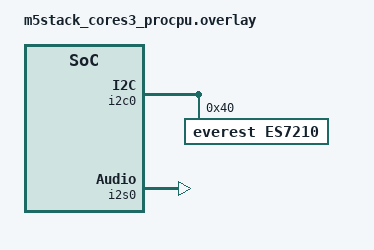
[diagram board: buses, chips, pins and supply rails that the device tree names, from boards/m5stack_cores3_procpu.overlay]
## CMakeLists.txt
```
# SPDX-License-Identifier: Apache-2.0

cmake_minimum_required(VERSION 3.20.0)
find_package(Zephyr REQUIRED HINTS $ENV{ZEPHYR_BASE})
project(es7210_custom_sample)

target_sources(app PRIVATE src/main.c)
```

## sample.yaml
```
sample:
  name: es7210 custom codec sample
  description: Basic register-level ES7210 custom API example.

tests:
  sample.drivers.audio.es7210_custom:
    tags:
      - audio
      - codec
      - i2c
    filter: dt_compat_enabled("everest,es7210")
    integration_platforms:
      - m5stack_cores3_procpu
    harness: console
    harness_config:
      type: one_line
      regex:
        - "ES7210 configured"
```

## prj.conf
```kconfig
CONFIG_AUDIO=y
CONFIG_AUDIO_CODEC=y
CONFIG_AUDIO_CODEC_ES7210=y
CONFIG_I2S=y
CONFIG_LOG=y
```

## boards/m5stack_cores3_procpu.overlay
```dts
/*
 * Copyright (c) 2026 Zhang Xingtao
 *
 * SPDX-License-Identifier: Apache-2.0
 */

/ {
	aliases {
		es7210 = &es7210;
	};
};

&pinctrl {
	i2s0_default: i2s0_default {
		group1 {
			pinmux = <I2S0_O_BCK_GPIO34>,
				 <I2S0_O_WS_GPIO33>,
				 <I2S0_O_SD_GPIO13>,
				 <I2S0_I_SD_GPIO14>,
				 <I2S0_MCLK_GPIO0>;
		};
	};
};

&i2c0 {
	status = "okay";

	es7210: audio-codec@40 {
		compatible = "everest,es7210";
		reg = <0x40>;
		status = "okay";
	};
};

&i2s0 {
	status = "okay";
	pinctrl-0 = <&i2s0_default>;
	pinctrl-names = "default";
};

&i2s1 {
	status = "disabled";
};

&dma {
	status = "okay";
};
```

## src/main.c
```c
/*
 * Copyright (c) 2026 Zhang Xingtao
 *
 * SPDX-License-Identifier: Apache-2.0
 */

#include <zephyr/device.h>
#include <zephyr/devicetree.h>
#include <zephyr/drivers/es7210.h>
#include <zephyr/drivers/i2c.h>
#include <zephyr/drivers/i2s.h>
#include <zephyr/kernel.h>
#include <zephyr/logging/log.h>
#include <zephyr/sys/util.h>
#include <errno.h>
#include <string.h>

LOG_MODULE_REGISTER(es7210_sample, LOG_LEVEL_INF);

#define ES7210_NODE DT_COMPAT_GET_ANY_STATUS_OKAY(everest_es7210)

#if !DT_NODE_EXISTS(ES7210_NODE)
#error "No everest,es7210 instance found in devicetree"
#endif

#define PMIC_I2C_NODE DT_NODELABEL(i2c0)
#define I2S_NODE DT_NODELABEL(i2s0)
#define AXP2101_ADDR  0x34
#define AW9523_ADDR   0x58
#define ES7210_REG_SDP_INTERFACE1 0x11
#define ES7210_REG_RESET_CONTROL 0x00
#define ES7210_REG_CLOCK_OFF 0x01
#define ES7210_REG_POWER_DOWN 0x06
#define ES7210_REG_MODE_CONFIG 0x08
#define ES7210_REG_ANALOG_POWER 0x40
#define ES7210_REG_MIC1_GAIN 0x43
#define ES7210_REG_MIC2_GAIN 0x44
#define ES7210_REG_MIC3_GAIN 0x45
#define ES7210_REG_MIC4_GAIN 0x46
#define ES7210_REG_MIC1_POWER 0x47
#define ES7210_REG_MIC2_POWER 0x48
#define ES7210_REG_MIC3_POWER 0x49
#define ES7210_REG_MIC4_POWER 0x4A
#define ES7210_REG_MIC12_POWER 0x4B
#define ES7210_REG_MIC34_POWER 0x4C
#define ES7210_REG_ADC1_DIRECT_DB 0x1B
#define CAPTURE_BLOCK_SIZE 1024
#define CAPTURE_BLOCK_COUNT 8
#define CAPTURE_SECONDS 2
#define CAPTURE_WORD_SIZE 32

K_MEM_SLAB_DEFINE_STATIC(capture_slab, CAPTURE_BLOCK_SIZE, CAPTURE_BLOCK_COUNT, 4);

static uint32_t isqrt_u64(uint64_t val)
{
	uint64_t res = 0;
	uint64_t bit = 1ULL << 62;

	while (bit > val) {
		bit >>= 2;
	}

	while (bit != 0U) {
		if (val >= (res + bit)) {
			val -= (res + bit);
			res = (res >> 1) + bit;
		} else {
			res >>= 1;
		}
		bit >>= 2;
	}

	return (uint32_t)res;
}

static void analyze_pcm_block(const void *blk, size_t size, uint8_t word_size, int32_t *peak,
			      uint32_t *rms)
{
	uint64_t sum_sq = 0;
	int32_t p = 0;
	size_t n;

	if (word_size == 32U) {
		const int32_t *s = blk;

		n = size / sizeof(int32_t);
		for (size_t i = 0; i < n; i++) {
			/* ES7210 data is typically aligned in upper bits on 32-bit slots. */
			int32_t v = s[i] >> 8;
			int32_t a = (v < 0) ? -v : v;

			if (a > p) {
				p = a;
			}

			sum_sq += (uint64_t)((int64_t)v * (int64_t)v);
		}
	} else {
		const int16_t *s = blk;

		n = size / sizeof(int16_t);
		for (size_t i = 0; i < n; i++) {
			int32_t v = s[i];
			int32_t a = (v < 0) ? -v : v;

			if (a > p) {
				p = a;
			}

			sum_sq += (uint64_t)((int64_t)v * (int64_t)v);
		}
	}

	*peak = p;
	*rms = (n > 0U) ? isqrt_u64(sum_sq / n) : 0U;
}

static int run_i2s_capture_test(const struct device *i2s_dev)
{
	const uint32_t sample_rate = 48000U;
	const uint8_t channels = 2U;
	const uint8_t word_size = CAPTURE_WORD_SIZE;
	const uint32_t bytes_per_frame = channels * (word_size / 8U);
	const uint32_t total_bytes = sample_rate * CAPTURE_SECONDS * bytes_per_frame;
	const uint32_t total_blocks = DIV_ROUND_UP(total_bytes, CAPTURE_BLOCK_SIZE);
	struct i2s_config cfg = {
		.word_size = word_size,
		.channels = channels,
		.format = I2S_FMT_DATA_FORMAT_I2S,
		.options = I2S_OPT_BIT_CLK_MASTER | I2S_OPT_FRAME_CLK_MASTER,
		.frame_clk_freq = sample_rate,
		.mem_slab = &capture_slab,
		.block_size = CAPTURE_BLOCK_SIZE,
		.timeout = 40,
	};
	int ret;

	ret = i2s_trigger(i2s_dev, I2S_DIR_BOTH, I2S_TRIGGER_DROP);
	(void)ret;

	ret = i2s_configure(i2s_dev, I2S_DIR_BOTH, &cfg);
	if (ret != 0) {
		LOG_ERR("i2s configure BOTH failed: %d", ret);
		return ret;
	}

	/* Prefill TX with silence so master clocks are continuously driven. */
	for (int i = 0; i < 4; i++) {
		void *tx_blk;

		ret = k_mem_slab_alloc(&capture_slab, &tx_blk, K_MSEC(100));
		if (ret != 0) {
			LOG_ERR("i2s tx prefill alloc failed: %d", ret);
			return ret;
		}
		memset(tx_blk, 0, CAPTURE_BLOCK_SIZE);
		ret = i2s_write(i2s_dev, tx_blk, CAPTURE_BLOCK_SIZE);
		if (ret != 0) {
			LOG_ERR("i2s tx prefill write failed: %d", ret);
			k_mem_slab_free(&capture_slab, tx_blk);
			return ret;
		}
	}

	ret = i2s_trigger(i2s_dev, I2S_DIR_BOTH, I2S_TRIGGER_START);
	if (ret != 0) {
		LOG_ERR("i2s start BOTH failed: %d", ret);
		return ret;
	}

	LOG_INF("i2s capture started: %u Hz, %u sec, %u blocks", sample_rate, CAPTURE_SECONDS,
		total_blocks);

	for (uint32_t i = 0; i < total_blocks; i++) {
		void *blk;
		size_t rx_size;
		int32_t peak;
		uint32_t rms;
		void *tx_blk;

		/* Keep TX fed so master BCLK/LRCK are continuously generated. */
		ret = k_mem_slab_alloc(&capture_slab, &tx_blk, K_NO_WAIT);
		if (ret == 0) {
			memset(tx_blk, 0, CAPTURE_BLOCK_SIZE);
			ret = i2s_write(i2s_dev, tx_blk, CAPTURE_BLOCK_SIZE);
			if (ret != 0) {
				if (ret != -EAGAIN && ret != -EBUSY) {
					LOG_ERR("i2s tx keepalive write failed: %d", ret);
					k_mem_slab_free(&capture_slab, tx_blk);
					(void)i2s_trigger(i2s_dev, I2S_DIR_BOTH, I2S_TRIGGER_DROP);
					return ret;
				}
				k_mem_slab_free(&capture_slab, tx_blk);
			}
		}

		ret = i2s_read(i2s_dev, &blk, &rx_size);
		if (ret != 0) {
			LOG_ERR("i2s read failed at block %u: %d", i, ret);
			(void)i2s_trigger(i2s_dev, I2S_DIR_BOTH, I2S_TRIGGER_DROP);
			return ret;
		}

		analyze_pcm_block(blk, rx_size, word_size, &peak, &rms);
		LOG_INF("i2s block %u/%u: bytes=%u peak=%d rms=%u", i + 1, total_blocks, rx_size, peak,
			rms);

		k_mem_slab_free(&capture_slab, blk);
	}

	(void)i2s_trigger(i2s_dev, I2S_DIR_BOTH, I2S_TRIGGER_DROP);
	LOG_INF("i2s capture finished");

	return 0;
}

static int es7210_start_capture_path(const struct device *dev)
{
	/* Align with validated app flow in applications/zephyr_box/src/es7210.c */
	int ret = 0;

	ret |= es7210_write_reg(dev, ES7210_REG_CLOCK_OFF, 0x00);
	ret |= es7210_write_reg(dev, ES7210_REG_POWER_DOWN, 0x00);
	ret |= es7210_write_reg(dev, ES7210_REG_MODE_CONFIG, 0x00);
	ret |= es7210_write_reg(dev, ES7210_REG_ANALOG_POWER, 0x43);
	ret |= es7210_write_reg(dev, ES7210_REG_MIC12_POWER, 0x00);
	ret |= es7210_write_reg(dev, ES7210_REG_MIC34_POWER, 0x00);
	/* Unmute ADC channels and apply moderate analog gain (bit4 enable + gain=0x0A). */
	ret |= es7210_write_reg(dev, ES7210_REG_MIC1_GAIN, 0x1A);
	ret |= es7210_write_reg(dev, ES7210_REG_MIC2_GAIN, 0x1A);
	ret |= es7210_write_reg(dev, ES7210_REG_MIC3_GAIN, 0x1A);
	ret |= es7210_write_reg(dev, ES7210_REG_MIC4_GAIN, 0x1A);
	ret |= es7210_write_reg(dev, ES7210_REG_MIC1_POWER, 0x08);
	ret |= es7210_write_reg(dev, ES7210_REG_MIC2_POWER, 0x08);
	ret |= es7210_write_reg(dev, ES7210_REG_MIC3_POWER, 0x08);
	ret |= es7210_write_reg(dev, ES7210_REG_MIC4_POWER, 0x08);
	ret |= es7210_write_reg(dev, ES7210_REG_RESET_CONTROL, 0x71);
	ret |= es7210_write_reg(dev, ES7210_REG_RESET_CONTROL, 0x41);

	if (ret != 0) {
		LOG_ERR("es7210 start path failed: %d", ret);
		return -EIO;
	}

	return 0;
}

static void es7210_dump_key_regs(const struct device *dev)
{
	static const uint8_t regs[] = {
		0x00, 0x01, 0x06, 0x08, 0x11, 0x12, 0x40, 0x41, 0x42,
		0x43, 0x44, 0x45, 0x46, 0x47, 0x48, 0x49, 0x4A, 0x4B, 0x4C,
	};

	for (size_t i = 0; i < ARRAY_SIZE(regs); i++) {
		uint8_t val;
		int ret = es7210_read_reg(dev, regs[i], &val);

		if (ret == 0) {
			LOG_INF("es7210 reg[0x%02x]=0x%02x", regs[i], val);
		} else {
			LOG_ERR("es7210 reg[0x%02x] read failed: %d", regs[i], ret);
		}
	}
}

static int test_reg_loopback(const struct device *dev)
{
	uint8_t orig;
	uint8_t test;
	int ret;

	ret = es7210_read_reg(dev, ES7210_REG_SDP_INTERFACE1, &orig);
	if (ret != 0) {
		LOG_ERR("loopback: read original reg 0x%02x failed: %d", ES7210_REG_SDP_INTERFACE1, ret);
		return ret;
	}

	test = (orig ^ 0x20) & 0xE0;
	if (test == orig) {
		test ^= 0x40;
	}

	ret = es7210_write_reg(dev, ES7210_REG_SDP_INTERFACE1, test);
	if (ret != 0) {
		LOG_ERR("loopback: write test value failed: %d", ret);
		return ret;
	}

	ret = es7210_read_reg(dev, ES7210_REG_SDP_INTERFACE1, &test);
	if (ret != 0) {
		LOG_ERR("loopback: readback failed: %d", ret);
		return ret;
	}

	ret = es7210_write_reg(dev, ES7210_REG_SDP_INTERFACE1, orig);
	if (ret != 0) {
		LOG_ERR("loopback: restore original value failed: %d", ret);
		return ret;
	}

	LOG_INF("loopback: reg 0x%02x read/write/read ok (orig=0x%02x readback=0x%02x)",
		ES7210_REG_SDP_INTERFACE1, orig, test);

	return 0;
}

static int test_channel_gain(const struct device *dev)
{
	static const uint8_t masks[] = {
		ES7210_CHANNEL_1, ES7210_CHANNEL_2, ES7210_CHANNEL_3, ES7210_CHANNEL_4,
	};
	static const uint8_t gain_regs[] = {
		ES7210_REG_ADC1_DIRECT_DB, ES7210_REG_ADC1_DIRECT_DB + 1, ES7210_REG_ADC1_DIRECT_DB + 2,
		ES7210_REG_ADC1_DIRECT_DB + 3,
	};
	static const uint8_t test_vals[] = {0x00, 0x0A, 0x1E, 0x08};
	int ret;

	for (size_t i = 0; i < ARRAY_SIZE(masks); i++) {
		uint8_t rd = 0;

		ret = es7210_set_mic_gain(dev, masks[i], test_vals[i]);
		if (ret != 0) {
			LOG_ERR("gain: set CH%u failed: %d", (unsigned int)(i + 1), ret);
			return ret;
		}

		ret = es7210_read_reg(dev, gain_regs[i], &rd);
		if (ret != 0) {
			LOG_ERR("gain: read CH%u reg 0x%02x failed: %d", (unsigned int)(i + 1),
				gain_regs[i], ret);
			return ret;
		}

		if (rd != test_vals[i]) {
			LOG_ERR("gain: CH%u mismatch wrote=0x%02x read=0x%02x", (unsigned int)(i + 1),
				test_vals[i], rd);
			return -EIO;
		}

		LOG_INF("gain: CH%u ok reg=0x%02x val=0x%02x", (unsigned int)(i + 1), gain_regs[i], rd);
	}

	return 0;
}

static int prepare_audio_power(const struct device *i2c_dev)
{
	uint8_t buf[2];
	uint8_t p1_val;
	uint8_t p0_val;
	int ret;

	/* AXP2101: enable codec/mic rails */
	buf[0] = 0x92;
	buf[1] = 0x0D;
	ret = i2c_write(i2c_dev, buf, sizeof(buf), AXP2101_ADDR);
	if (ret != 0) {
		return ret;
	}

	buf[0] = 0x93;
	buf[1] = 0x1C;
	ret = i2c_write(i2c_dev, buf, sizeof(buf), AXP2101_ADDR);
	if (ret != 0) {
		return ret;
	}

	buf[0] = 0x94;
	buf[1] = 0x1C;
	ret = i2c_write(i2c_dev, buf, sizeof(buf), AXP2101_ADDR);
	if (ret != 0) {
		return ret;
	}

	/* AW9523: enable 5V/audio related lines while preserving LCD reset */
	buf[0] = 0x03;
	ret = i2c_write_read(i2c_dev, AW9523_ADDR, buf, 1, &p1_val, 1);
	if (ret != 0) {
		return ret;
	}
	buf[0] = 0x03;
	buf[1] = p1_val | BIT(7) | BIT(1);
	ret = i2c_write(i2c_dev, buf, sizeof(buf), AW9523_ADDR);
	if (ret != 0) {
		return ret;
	}

	buf[0] = 0x02;
	ret = i2c_write_read(i2c_dev, AW9523_ADDR, buf, 1, &p0_val, 1);
	if (ret != 0) {
		return ret;
	}
	buf[0] = 0x02;
	buf[1] = p0_val | 0x07;
	ret = i2c_write(i2c_dev, buf, sizeof(buf), AW9523_ADDR);
	if (ret != 0) {
		return ret;
	}

	k_msleep(50);

	return 0;
}

int main(void)
{
	const struct device *dev = DEVICE_DT_GET(ES7210_NODE);
	const struct device *pmic_i2c = DEVICE_DT_GET(PMIC_I2C_NODE);
	const struct device *i2s_dev = DEVICE_DT_GET(I2S_NODE);
	uint8_t id1;
	int ret;

	if (!device_is_ready(dev)) {
		LOG_ERR("ES7210 device not ready");
		return -ENODEV;
	}

	if (!device_is_ready(pmic_i2c)) {
		LOG_ERR("Power I2C bus not ready");
		return -ENODEV;
	}

	if (!device_is_ready(i2s_dev)) {
		LOG_ERR("I2S device not ready");
		return -ENODEV;
	}

	ret = prepare_audio_power(pmic_i2c);
	if (ret != 0) {
		LOG_ERR("failed to enable audio power rails: %d", ret);
		return ret;
	}

	ret = es7210_apply_init(dev);
	if (ret != 0) {
		LOG_ERR("failed to apply init sequence: %d", ret);
		return ret;
	}

	ret = es7210_read_reg(dev, 0x3D, &id1);
	if (ret != 0) {
		LOG_ERR("failed to read CHIP_ID1: %d", ret);
		return ret;
	}

	LOG_INF("ES7210 CHIP_ID1 = 0x%02x", id1);

	ret = es7210_set_mic_gain(dev, ES7210_CHANNEL_ALL, 0x1E);
	if (ret != 0) {
		LOG_ERR("failed to set gain: %d", ret);
		return ret;
	}

	ret = test_reg_loopback(dev);
	if (ret != 0) {
		LOG_ERR("register loopback test failed: %d", ret);
		return ret;
	}

	ret = test_channel_gain(dev);
	if (ret != 0) {
		LOG_ERR("channel gain test failed: %d", ret);
		return ret;
	}

	ret = es7210_start_capture_path(dev);
	if (ret != 0) {
		return ret;
	}
	es7210_dump_key_regs(dev);

	ret = run_i2s_capture_test(i2s_dev);
	if (ret != 0) {
		LOG_ERR("i2s capture test failed: %d", ret);
		return ret;
	}

	LOG_INF("ES7210 configured");
	k_sleep(K_FOREVER);
	return 0;
}
```
